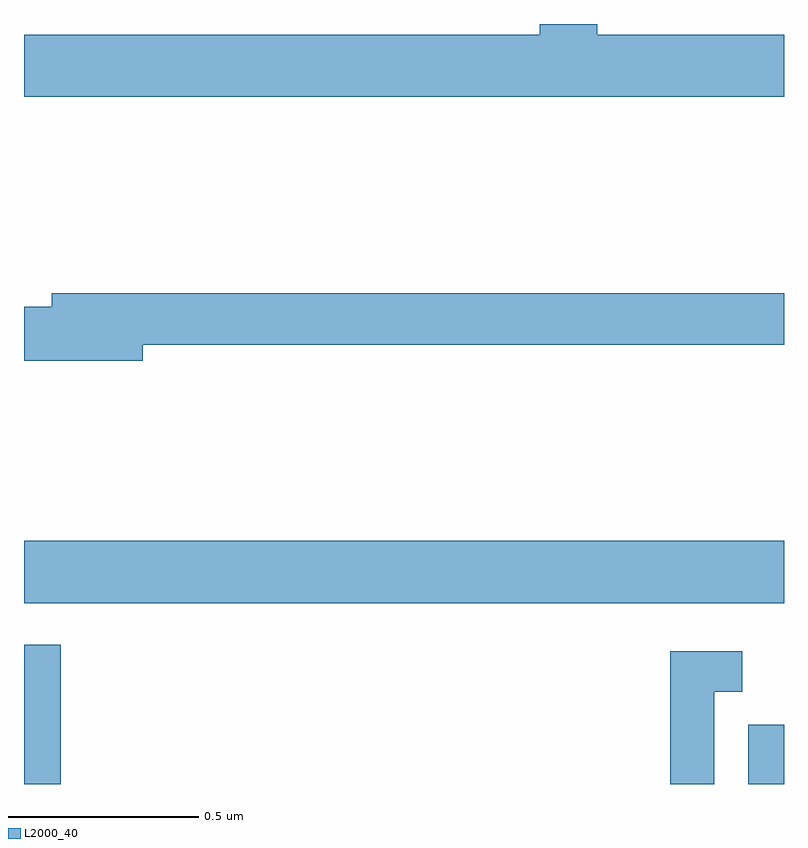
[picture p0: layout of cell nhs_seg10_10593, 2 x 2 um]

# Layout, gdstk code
import gdstk
lib = gdstk.Library(unit=1e-6, precision=1e-09)
def R(c, l, rs):  # rectangles x0, y0, x1, y1
    for r in rs: c.add(gdstk.rectangle(r[:2], r[2:], *l))
def P(c, l, *ps):  # polygons
    for p in ps: c.add(gdstk.Polygon(p, *l))
L2000_40 = (2000, 40)

nhs_seg10_10593 = lib.new_cell('nhs_seg10_10593')
R(nhs_seg10_10593, L2000_40, [(244,1306.5,244.097,1306.866), (245.906,1306.5,246,1306.656), (244,1306.976,246,1307.14)])
P(nhs_seg10_10593, L2000_40, [(246,1308.472),(245.509,1308.472),(245.509,1308.5),(245.357,1308.5),(245.357,1308.472),(244,1308.472),(244,1308.308),(246,1308.308)],
  [(244.312,1307.656),(246,1307.656),(246,1307.792),(244.073,1307.792),(244.073,1307.756),(244,1307.756),(244,1307.614),(244.312,1307.614)],
  [(245.817,1306.743),(245.89,1306.743),(245.89,1306.849),(245.701,1306.849),(245.701,1306.5),(245.817,1306.5)])

lib.write_gds('nhs_seg10_10593.gds')
